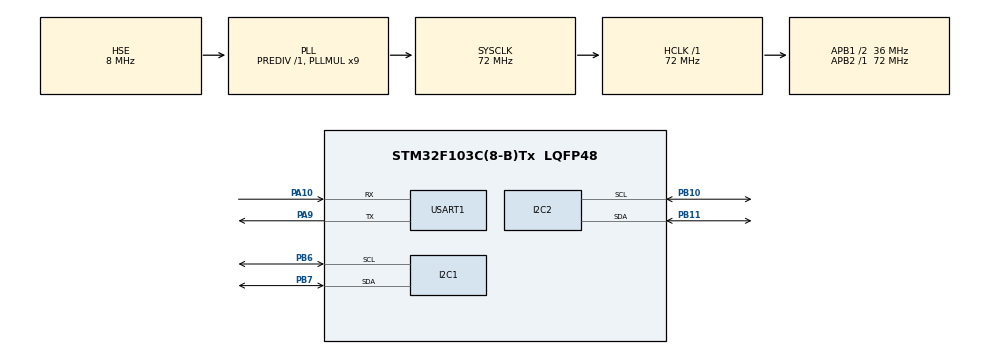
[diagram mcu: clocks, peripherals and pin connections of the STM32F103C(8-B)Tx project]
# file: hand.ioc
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Mcu.Family=STM32F1
Mcu.Name=STM32F103C(8-B)Tx
Mcu.Package=LQFP48
NVIC.PriorityGroup=NVIC_PRIORITYGROUP_4
PA10.Mode=Asynchronous
PA10.Signal=USART1_RX
PA13.Mode=Serial_Wire
PA13.Signal=SYS_JTMS-SWDIO
PA14.Mode=Serial_Wire
PA14.Signal=SYS_JTCK-SWCLK
PA9.Mode=Asynchronous
PA9.Signal=USART1_TX
PB10.Mode=I2C
PB10.Signal=I2C2_SCL
PB11.Mode=I2C
PB11.Signal=I2C2_SDA
PB6.Mode=I2C
PB6.Signal=I2C1_SCL
PB7.Mode=I2C
PB7.Signal=I2C1_SDA
PD0-OSC_IN.Mode=HSE-External-Oscillator
PD0-OSC_IN.Signal=RCC_OSC_IN
PD1-OSC_OUT.Mode=HSE-External-Oscillator
PD1-OSC_OUT.Signal=RCC_OSC_OUT
ProjectManager.HeapSize=0x200
ProjectManager.StackSize=0x400
ProjectManager.TargetToolchain=CMake
RCC.AHBFreq_Value=72000000
RCC.APB1CLKDivider=RCC_HCLK_DIV2
RCC.APB1Freq_Value=36000000
RCC.APB1TimFreq_Value=72000000
RCC.APB2Freq_Value=72000000
RCC.APB2TimFreq_Value=72000000
RCC.HCLKFreq_Value=72000000
RCC.PLLMUL=RCC_PLL_MUL9
RCC.PLLSourceVirtual=RCC_PLLSOURCE_HSE
RCC.SYSCLKFreq_VALUE=72000000
RCC.SYSCLKSource=RCC_SYSCLKSOURCE_PLLCLK
RCC.USBFreq_Value=72000000
USART1.VirtualMode=VM_ASYNC
board=custom

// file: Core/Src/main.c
// /* USER CODE BEGIN Header */
// /**
//  * @file main.c
//  * @brief Single finger IMU test, UP_V6_FAST
//  */
// /* USER CODE END Header */
// /* Includes ------------------------------------------------------------------*/
// #include "main.h"
// #include "i2c.h"
// #include "usart.h"
// #include "gpio.h"
//
// /* Private includes ----------------------------------------------------------*/
// /* USER CODE BEGIN Includes */
// #include "finger_mpu6050.h"
// #include <stdio.h>
// /* USER CODE END Includes */
//
// /* Private typedef -----------------------------------------------------------*/
// /* USER CODE BEGIN PTD */
//
// /* USER CODE END PTD */
//
// /* Private define ------------------------------------------------------------*/
// /* USER CODE BEGIN PD */
//
// #define APP_UART_PERIOD_MS 100u
//
// #define APP_STAGE_COLLECT  5u
// #define APP_STAGE_ERROR    6u
// #define APP_STAGE_HOLD     7u
//
// /* USER CODE END PD */
//
// /* Private macro -------------------------------------------------------------*/
// /* USER CODE BEGIN PM */
//
// /* USER CODE END PM */
//
// /* Private variables ---------------------------------------------------------*/
//
// /* USER CODE BEGIN PV */
//
// static FingerTracker finger;
//
// /* 单位：毫度，除以1000得到度 */
// volatile int32_t debug_tilt_mdeg = 0;
// volatile int32_t debug_signed_mdeg = 0;
// volatile int32_t debug_flex_mdeg = 0;
//
// /*
//  * state：
//  * 0：伸直
//  * 1：半握拳
//  * 2：握拳
//  * 255：无可用档位
//  */
// volatile uint8_t debug_state = 255;
// volatile uint8_t debug_valid = 0;
//
// /*
//  * stage：
//  * 1：初始化
//  * 2：初始化失败
//  * 3：校准
//  * 4：校准失败
//  * 5：正常采集
//  * 6：更新错误，继续重试
//  * 7：暂时保留旧角度，继续重试
//  */
// volatile uint8_t debug_stage = 0;
//
// volatile uint8_t debug_hal_status = HAL_OK;
// volatile uint8_t debug_uart_status = HAL_OK;
// volatile uint32_t debug_sample_count = 0;
//
// /* 在调试器中改为1，可以重新初始化并校准 */
// volatile uint8_t debug_command = 0;
//
// extern volatile uint8_t debug_update_reason;
//
// /* USER CODE END PV */
//
// /* Private function prototypes -----------------------------------------------*/
// void SystemClock_Config(void);
// /* USER CODE BEGIN PFP */
//
// static void App_StartSensor(void);
// static void App_UpdateSensor(void);
// static void App_SendTelemetry(void);
//
// /* USER CODE END PFP */
//
// /* Private user code ---------------------------------------------------------*/
// /* USER CODE BEGIN 0 */
//
// static void App_StartSensor(void)
// {
//     HAL_StatusTypeDef result;
//
//     debug_valid = 0;
//     debug_state = 255;
//     debug_sample_count = 0;
//
//     debug_tilt_mdeg = 0;
//     debug_signed_mdeg = 0;
//     debug_flex_mdeg = 0;
//     debug_update_reason = 0;
//
//     /* AD0接GND，地址为0x68 */
//     debug_stage = 1;
//
//     result = Finger_Init(&finger, &hi2c1, 0x68);
//     debug_hal_status = (uint8_t)result;
//
//     if (result != HAL_OK) {
//         debug_stage = 2;
//         return;
//     }
//
//     finger.direction = 1.0f;
//
//     /*
//      * 分档参数：以后主要修改这里。
//      *
//      * 当前设置：
//      * 伸直 -> 半握拳：达到50度
//      * 半握拳 -> 握拳：达到105度
//      *
//      * 握拳 -> 半握拳：降至95度
//      * 半握拳 -> 伸直：降至40度
//      *
//
//      */
//     finger.threshold1_deg = 85.0f;
//     finger.threshold2_deg = 160.0f;
//     finger.hysteresis_deg = 5.0f;
//
//     /*
//      * 手心朝上、食指伸直，并保持静止。
//      */
//     HAL_Delay(2000);
//
//     debug_stage = 3;
//
//     result = Finger_Calibrate(&finger);
//     debug_hal_status = (uint8_t)result;
//
//     if (result != HAL_OK) {
//         debug_stage = 4;
//         return;
//     }
//
//     debug_tilt_mdeg =
//         (int32_t)(finger.angle_deg * 1000.0f);
//
//     debug_valid = finger.valid;
//     debug_state = finger.state;
//     debug_stage = APP_STAGE_COLLECT;
// }
//
// static void App_UpdateSensor(void)
// {
//     HAL_StatusTypeDef result = Finger_Update(&finger);
//
//     if (result == HAL_BUSY && finger.calibrated) {
//
//         /*
//          * 未到采样时间：
//          * 保持当前显示。
//          *
//          * 本次样本不可靠：
//          * 保留上次角度，显示阶段7，继续重试。
//          */
//         if (!finger.valid) {
//             debug_hal_status = (uint8_t)HAL_BUSY;
//             debug_valid = 0;
//             debug_state = finger.state;
//             debug_stage = APP_STAGE_HOLD;
//         }
//
//         return;
//     }
//
//     debug_hal_status = (uint8_t)result;
//
//     if (result != HAL_OK || !finger.valid) {
//         debug_valid = 0;
//         debug_state = 255;
//         debug_stage = APP_STAGE_ERROR;
//         return;
//     }
//
//     const float relative =
//         finger.angle_deg - finger.zero_deg;
//
//     debug_tilt_mdeg =
//         (int32_t)(finger.angle_deg * 1000.0f);
//
//     debug_signed_mdeg =
//         (int32_t)(relative * 1000.0f);
//
//     debug_flex_mdeg =
//         (int32_t)(finger.flex_deg * 1000.0f);
//
//     debug_state = finger.state;
//     debug_valid = finger.valid;
//
//     debug_sample_count++;
//
//     /* 读取成功后，自动恢复到阶段5 */
//     debug_stage = APP_STAGE_COLLECT;
// }
//
// static void App_SendTelemetry(void)
// {
//     static uint32_t last_send_ms = 0;
//
//     uint32_t now_ms = HAL_GetTick();
//
//     if ((uint32_t)(now_ms - last_send_ms) <
//         APP_UART_PERIOD_MS) {
//         return;
//         }
//
//     last_send_ms = now_ms;
//
//     long bend_deg =
//         (long)((debug_flex_mdeg + 500) / 1000);
//
//     long relative_deg =
//         (long)(debug_signed_mdeg / 1000);
//
//     char message[192];
//
//     int length = snprintf(
//         message,
//         sizeof(message),
//         "bend_deg=%ld,rel_deg=%ld,"
//         "state=%u,valid=%u,stage=%u,reason=%u,n=%lu\r\n",
//         bend_deg,
//         relative_deg,
//         (unsigned)debug_state,
//         (unsigned)debug_valid,
//         (unsigned)debug_stage,
//         (unsigned)debug_update_reason,
//         (unsigned long)debug_sample_count
//     );
//
//     if (length > 0 && length < (int)sizeof(message)) {
//
//         debug_uart_status = (uint8_t)HAL_UART_Transmit(
//             &huart1,
//             (uint8_t *)message,
//             (uint16_t)length,
//             20u
//         );
//     }
// }
//
// /* USER CODE END 0 */
//
// /**
//   * @brief  The application entry point.
//   * @retval int
//   */
// int main(void)
// {
//
//   /* USER CODE BEGIN 1 */
//
//   /* USER CODE END 1 */
//
//   /* MCU Configuration--------------------------------------------------------*/
//
//   /* Reset of all peripherals, Initializes the Flash interface and the Systick. */
//   HAL_Init();
//
//   /* USER CODE BEGIN Init */
//
//   /* USER CODE END Init */
//
//   /* Configure the system clock */
//   SystemClock_Config();
//
//   /* USER CODE BEGIN SysInit */
//
//   /* USER CODE END SysInit */
//
//   /* Initialize all configured peripherals */
//   MX_GPIO_Init();
//   MX_I2C1_Init();
//   MX_USART1_UART_Init();
//   MX_I2C2_Init();
//   /* USER CODE BEGIN 2 */
//
//     App_StartSensor();
//
//   /* USER CODE END 2 */
//
//   /* Infinite loop */
//   /* USER CODE BEGIN WHILE */
//     while (1) {
//     /* USER CODE END WHILE */
//
//     /* USER CODE BEGIN 3 */
//
//         if (debug_command == 1u) {
//             debug_command = 0;
//             App_StartSensor();
//         }
//
//         /*
//          * 阶段5：正常采集
//          * 阶段6：错误后继续重试
//          * 阶段7：暂时保持旧角度，继续重试
//          */
//         if (debug_stage == APP_STAGE_COLLECT ||
//             debug_stage == APP_STAGE_ERROR ||
//             debug_stage == APP_STAGE_HOLD) {
//
//             App_UpdateSensor();
//         }
//
//         App_SendTelemetry();
//     }
//   /* USER CODE END 3 */
// }
//
// /**
//   * @brief System Clock Configuration
//   * @retval None
//   */
// void SystemClock_Config(void)
// {
//   RCC_OscInitTypeDef RCC_OscInitStruct = {0};
//   RCC_ClkInitTypeDef RCC_ClkInitStruct = {0};
//
//   /** Initializes the RCC Oscillators according to the specified parameters
//   * in the RCC_OscInitTypeDef structure.
//   */
//   RCC_OscInitStruct.OscillatorType = RCC_OSCILLATORTYPE_HSE;
//   RCC_OscInitStruct.HSEState = RCC_HSE_ON;
//   RCC_OscInitStruct.HSEPredivValue = RCC_HSE_PREDIV_DIV1;
//   RCC_OscInitStruct.HSIState = RCC_HSI_ON;
//   RCC_OscInitStruct.PLL.PLLState = RCC_PLL_ON;
//   RCC_OscInitStruct.PLL.PLLSource = RCC_PLLSOURCE_HSE;
//   RCC_OscInitStruct.PLL.PLLMUL = RCC_PLL_MUL9;
//   if (HAL_RCC_OscConfig(&RCC_OscInitStruct) != HAL_OK)
//   {
//     Error_Handler();
//   }
//
//   /** Initializes the CPU, AHB and APB buses clocks
//   */
//   RCC_ClkInitStruct.ClockType = RCC_CLOCKTYPE_HCLK|RCC_CLOCKTYPE_SYSCLK
//                               |RCC_CLOCKTYPE_PCLK1|RCC_CLOCKTYPE_PCLK2;
//   RCC_ClkInitStruct.SYSCLKSource = RCC_SYSCLKSOURCE_PLLCLK;
//   RCC_ClkInitStruct.AHBCLKDivider = RCC_SYSCLK_DIV1;
//   RCC_ClkInitStruct.APB1CLKDivider = RCC_HCLK_DIV2;
//   RCC_ClkInitStruct.APB2CLKDivider = RCC_HCLK_DIV1;
//
//   if (HAL_RCC_ClockConfig(&RCC_ClkInitStruct, FLASH_LATENCY_2) != HAL_OK)
//   {
//     Error_Handler();
//   }
// }
//
// /* USER CODE BEGIN 4 */
//
// /* USER CODE END 4 */
//
// /**
//   * @brief  This function is executed in case of error occurrence.
//   * @retval None
//   */
// void Error_Handler(void)
// {
//   /* USER CODE BEGIN Error_Handler_Debug */
//   /* User can add his own implementation to report the HAL error return state */
//   __disable_irq();
//   while (1)
//   {
//   }
//   /* USER CODE END Error_Handler_Debug */
// }
// #ifdef USE_FULL_ASSERT
// /**
//   * @brief  Reports the name of the source file and the source line number
//   *         where the assert_param error has occurred.
//   * @param  file: pointer to the source file name
//   * @param  line: assert_param error line source number
//   * @retval None
//   */
// void assert_failed(uint8_t *file, uint32_t line)
// {
//   /* USER CODE BEGIN 6 */
//   /* User can add his own implementation to report the file name and line number,
//      ex: printf("Wrong parameters value: file %s on line %d\r\n", file, line) */
//   /* USER CODE END 6 */
// }
// #endif /* USE_FULL_ASSERT */

/* USER CODE BEGIN Header */
/*
 * 单板双指采集：
 * 中指：I2C1，PB6=SCL，PB7=SDA
 * 无名指：I2C2，PB10=SCL，PB11=SDA
 * 两个传感器AD0均接GND，地址均为0x68。
 *
 * 依赖原工程的 finger_mpu6050.c/.h。
 * 此版本暂不包含两块STM32之间的四指数据汇总。
 */
/* USER CODE END Header */

#include "main.h"
#include "i2c.h"
#include "usart.h"
#include "gpio.h"

/* USER CODE BEGIN Includes */
#include "finger_mpu6050.h"
#include <stdio.h>
#include <stdint.h>
/* USER CODE END Includes */

/* USER CODE BEGIN PTD */

typedef struct {
    int32_t tilt_mdeg;
    int32_t signed_mdeg;
    int32_t flex_mdeg;

    uint8_t state;
    uint8_t valid;
    uint8_t stage;
    uint8_t hal_status;
    uint8_t reason;

    uint32_t sample_count;
} AppFingerDebug;

/* USER CODE END PTD */

/* USER CODE BEGIN PD */

#define APP_FINGER_COUNT       2u
#define APP_UART_PERIOD_MS     200u

#define APP_STAGE_COLLECT      5u
#define APP_STAGE_ERROR        6u
#define APP_STAGE_HOLD         7u

/* 保留你原代码实际使用的参数 */
#define APP_THRESHOLD1_DEG     85.0f
#define APP_THRESHOLD2_DEG     160.0f
#define APP_HYSTERESIS_DEG     5.0f

/* USER CODE END PD */

/* USER CODE BEGIN PV */

/* 两个独立的传感器对象 */
static FingerTracker fingers[APP_FINGER_COUNT];

/* 第0个接I2C1，第1个接I2C2 */
static I2C_HandleTypeDef *const finger_buses[APP_FINGER_COUNT] = {
    &hi2c1,
    &hi2c2
};

/* 串口输出中的手指名称 */
static const char *const finger_names[APP_FINGER_COUNT] = {
    "middle",
    "ring"
};

/* 只有完成初始化和校准，才开始读取 */
static uint8_t finger_ready[APP_FINGER_COUNT];

/*
 * CLion中观察：
 *
 * debug_fingers[0]：中指
 * debug_fingers[1]：无名指
 *
 * 角度单位为毫度，除以1000得到度。
 *
 * state：
 * 0：伸直
 * 1：半握拳
 * 2：握拳
 * 255：无有效档位
 *
 * stage：
 * 1：初始化
 * 2：初始化失败
 * 3：校准中
 * 4：校准失败
 * 5：正常采集
 * 6：更新错误，继续重试
 * 7：保留上次角度，继续重试
 */
volatile AppFingerDebug debug_fingers[APP_FINGER_COUNT];

volatile uint8_t debug_uart_status = HAL_OK;

/* 调试器中设置为1，重新初始化并校准两个手指 */
volatile uint8_t debug_command = 0;

/*
 * 原驱动中的诊断变量。
 * 每次操作完成后立即保存到对应手指的reason中。
 */
extern volatile uint8_t debug_update_reason;

/* USER CODE END PV */

void SystemClock_Config(void);

/* USER CODE BEGIN PFP */

static void App_StartSensors(void);
static void App_UpdateSensor(uint32_t index);
static void App_SendTelemetry(void);

/* USER CODE END PFP */

/* USER CODE BEGIN 0 */

static void App_StartSensors(void)
{
    uint32_t index;
    uint8_t any_initialized = 0u;

    /* 先分别初始化两个传感器 */
    for (index = 0u; index < APP_FINGER_COUNT; ++index) {
        volatile AppFingerDebug *d = &debug_fingers[index];
        FingerTracker *f = &fingers[index];

        HAL_StatusTypeDef result;

        finger_ready[index] = 0u;

        d->tilt_mdeg = 0;
        d->signed_mdeg = 0;
        d->flex_mdeg = 0;

        d->state = 255u;
        d->valid = 0u;
        d->sample_count = 0u;
        d->reason = 0u;
        d->stage = 1u;

        /*
         * 两个AD0均接GND。
         * 因为使用不同的I2C总线，所以地址都可以是0x68。
         */
        debug_update_reason = 0u;

        result = Finger_Init(
            f,
            finger_buses[index],
            0x68
        );

        d->reason = debug_update_reason;
        d->hal_status = (uint8_t)result;

        if (result != HAL_OK) {
            d->stage = 2u;

            /* 一个失败，继续处理另一个 */
            continue;
        }

        f->direction = 1.0f;

        f->threshold1_deg = APP_THRESHOLD1_DEG;
        f->threshold2_deg = APP_THRESHOLD2_DEG;
        f->hysteresis_deg = APP_HYSTERESIS_DEG;

        d->stage = 3u;
        any_initialized = 1u;
    }

    if (!any_initialized) {
        return;
    }

    /*
     * 手心朝上，中指和无名指都伸直。
     * 保持静止，直到两个传感器的校准都结束。
     *
     * 先统一等待2秒，再依次校准。
     */
    HAL_Delay(2000u);

    for (index = 0u; index < APP_FINGER_COUNT; ++index) {
        volatile AppFingerDebug *d = &debug_fingers[index];
        FingerTracker *f = &fingers[index];

        HAL_StatusTypeDef result;

        /* 跳过初始化失败的传感器 */
        if (d->stage != 3u) {
            continue;
        }

        debug_update_reason = 0u;

        result = Finger_Calibrate(f);

        d->reason = debug_update_reason;
        d->hal_status = (uint8_t)result;

        if (result != HAL_OK) {
            d->stage = 4u;
            continue;
        }

        d->tilt_mdeg =
            (int32_t)(f->angle_deg * 1000.0f);

        d->valid = f->valid;
        d->state = f->state;
        d->stage = APP_STAGE_COLLECT;

        finger_ready[index] = 1u;
    }
}

static void App_UpdateSensor(uint32_t index)
{
    FingerTracker *f;
    volatile AppFingerDebug *d;

    HAL_StatusTypeDef result;
    uint8_t reason;
    float relative;

    if (index >= APP_FINGER_COUNT ||
        !finger_ready[index]) {
        return;
    }

    f = &fingers[index];
    d = &debug_fingers[index];

    result = Finger_Update(f);

    /* 立即保存，避免被另一个传感器的操作覆盖 */
    reason = debug_update_reason;

    if (result == HAL_BUSY && f->calibrated) {
        /*
         * 未到采样时间时保持当前显示。
         * 如果本次样本不可靠，保留旧角度并标记阶段7。
         */
        if (!f->valid) {
            d->hal_status = (uint8_t)HAL_BUSY;
            d->reason = reason;

            d->valid = 0u;
            d->state = f->state;
            d->stage = APP_STAGE_HOLD;
        }

        return;
    }

    d->hal_status = (uint8_t)result;
    d->reason = reason;

    if (result != HAL_OK || !f->valid) {
        d->valid = 0u;
        d->state = 255u;
        d->stage = APP_STAGE_ERROR;

        return;
    }

    relative = f->angle_deg - f->zero_deg;

    d->tilt_mdeg =
        (int32_t)(f->angle_deg * 1000.0f);

    d->signed_mdeg =
        (int32_t)(relative * 1000.0f);

    d->flex_mdeg =
        (int32_t)(f->flex_deg * 1000.0f);

    d->state = f->state;
    d->valid = f->valid;

    d->sample_count++;
    d->stage = APP_STAGE_COLLECT;
}

static void App_SendTelemetry(void)
{
    static uint32_t last_send_ms = 0u;

    uint32_t now_ms = HAL_GetTick();

    if ((uint32_t)(now_ms - last_send_ms) <
        APP_UART_PERIOD_MS) {
        return;
        }

    last_send_ms = now_ms;

    /* 单位：毫度 */
    int32_t middle_mdeg = debug_fingers[0].flex_mdeg;
    int32_t ring_mdeg = debug_fingers[1].flex_mdeg;

    char message[96];

    int length = snprintf(
        message,
        sizeof(message),
        "middle_deg=%ld.%03ld,ring_deg=%ld.%03ld\r\n",
        (long)(middle_mdeg / 1000),
        (long)(middle_mdeg % 1000),
        (long)(ring_mdeg / 1000),
        (long)(ring_mdeg % 1000)
    );

    if (length > 0 && length < (int)sizeof(message)) {
        debug_uart_status = (uint8_t)HAL_UART_Transmit(
            &huart1,
            (uint8_t *)message,
            (uint16_t)length,
            20u
        );
    } else {
        debug_uart_status = (uint8_t)HAL_ERROR;
    }
}

/* USER CODE END 0 */

int main(void)
{

    HAL_Init();

    SystemClock_Config();

    MX_GPIO_Init();
    MX_I2C1_Init();
    MX_USART1_UART_Init();
    MX_I2C2_Init();

    /* USER CODE BEGIN 2 */

    App_StartSensors();

    /* USER CODE END 2 */

    while (1) {

        /* USER CODE BEGIN 3 */

        uint32_t index;

        if (debug_command == 1u) {
            debug_command = 0u;
            App_StartSensors();
        }

        for (index = 0u;
             index < APP_FINGER_COUNT;
             ++index) {
            App_UpdateSensor(index);
        }

        App_SendTelemetry();
    }

    /* USER CODE END 3 */
}

/* 保留你原来的时钟配置 */
void SystemClock_Config(void)
{
    RCC_OscInitTypeDef RCC_OscInitStruct = {0};
    RCC_ClkInitTypeDef RCC_ClkInitStruct = {0};

    RCC_OscInitStruct.OscillatorType =
        RCC_OSCILLATORTYPE_HSE;

    RCC_OscInitStruct.HSEState =
        RCC_HSE_ON;

    RCC_OscInitStruct.HSEPredivValue =
        RCC_HSE_PREDIV_DIV1;

    RCC_OscInitStruct.HSIState =
        RCC_HSI_ON;

    RCC_OscInitStruct.PLL.PLLState =
        RCC_PLL_ON;

    RCC_OscInitStruct.PLL.PLLSource =
        RCC_PLLSOURCE_HSE;

    RCC_OscInitStruct.PLL.PLLMUL =
        RCC_PLL_MUL9;

    if (HAL_RCC_OscConfig(&RCC_OscInitStruct) != HAL_OK) {
        Error_Handler();
    }

    RCC_ClkInitStruct.ClockType =
        RCC_CLOCKTYPE_HCLK |
        RCC_CLOCKTYPE_SYSCLK |
        RCC_CLOCKTYPE_PCLK1 |
        RCC_CLOCKTYPE_PCLK2;

    RCC_ClkInitStruct.SYSCLKSource =
        RCC_SYSCLKSOURCE_PLLCLK;

    RCC_ClkInitStruct.AHBCLKDivider =
        RCC_SYSCLK_DIV1;

    RCC_ClkInitStruct.APB1CLKDivider =
        RCC_HCLK_DIV2;

    RCC_ClkInitStruct.APB2CLKDivider =
        RCC_HCLK_DIV1;

    if (HAL_RCC_ClockConfig(
            &RCC_ClkInitStruct,
            FLASH_LATENCY_2
        ) != HAL_OK) {
        Error_Handler();
    }
}

void Error_Handler(void)
{
    __disable_irq();
    while (1) {
    }
}

#ifdef USE_FULL_ASSERT

void assert_failed(uint8_t *file, uint32_t line)
{
    /* USER CODE BEGIN 6 */

    (void)file;
    (void)line;

    /* USER CODE END 6 */
}

#endif
